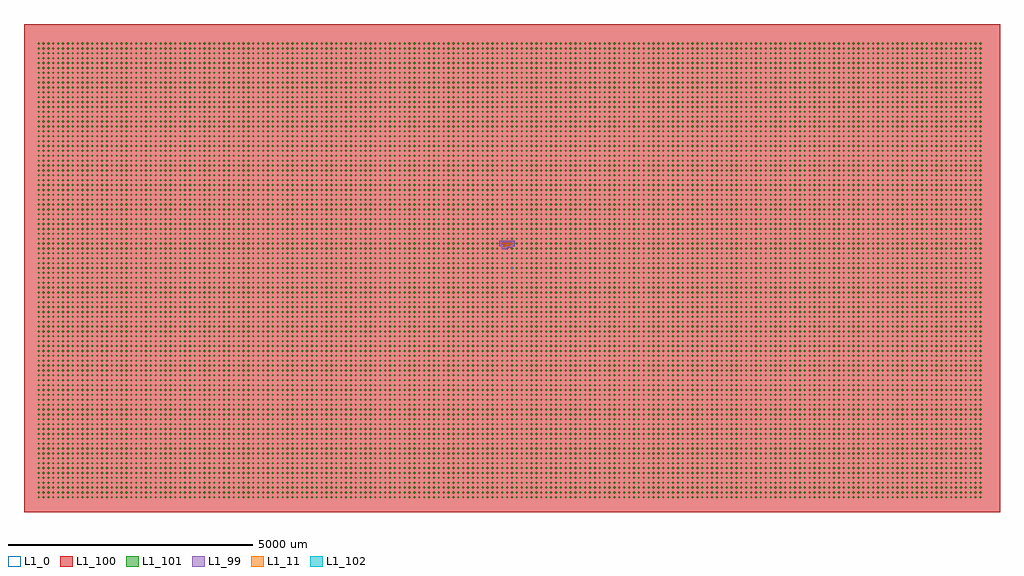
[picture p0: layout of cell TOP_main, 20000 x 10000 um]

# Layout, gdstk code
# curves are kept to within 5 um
import gdstk
lib = gdstk.Library(unit=1e-6, precision=1e-09)
def R(c, l, rs):  # rectangles x0, y0, x1, y1
    for r in rs: c.add(gdstk.rectangle(r[:2], r[2:], *l))
def A(c, l, x, y, w, h, nx, ny, dx, dy):  # array of equal rectangles
    R(c, l, [(x+i*dx, y+j*dy, x+i*dx+w, y+j*dy+h) for i in range(nx) for j in range(ny)])
def P(c, l, *ps):  # polygons
    for p in ps: c.add(gdstk.Polygon(p, *l))
L1_0 = (1, 0)
L1_11 = (1, 11)
L1_99 = (1, 99)
L1_100 = (1, 100)
L1_101 = (1, 101)
L1_102 = (1, 102)

ground_main_1 = lib.new_cell('ground_main_1')
P(ground_main_1, L1_0, [(10000,5000),(-10000,5000),(-10000,483.5),(-220,483.5),(-220,516.5),(20,516.5),(20,483.5),(-10000,483.5),(-10000,425.3),(-173.2,425.3),(-167.714,456.368),(-146.107,475.385),(-40,478.5),(-40,452.1),(-134.533,451.477),(-145.409,441.993),(-146.8,425.3),(-10000,425.3),(-10000,-5000),(10000,-5000)])

top_main_1_one_hole = lib.new_cell('TOP_main_1_one_hole')
P(top_main_1_one_hole, L1_102, [(12.5,-12.5),(12.5,12.5),(-12.5,12.5),(-12.5,-12.5),(12.5,-12.5)])

top_main_1_cheese_diff = lib.new_cell('TOP_main_1_Cheese_diff')
A(top_main_1_cheese_diff, L1_101, -9712.5, -4712.5, 25, 25, 194, 51, 100, 100)
A(top_main_1_cheese_diff, L1_101, -9712.5, 387.5, 25, 25, 95, 2, 100, 100)
A(top_main_1_cheese_diff, L1_101, 87.5, 387.5, 25, 25, 96, 2, 100, 100)
A(top_main_1_cheese_diff, L1_101, -9712.5, 587.5, 25, 25, 194, 41, 100, 100)
R(top_main_1_cheese_diff, L1_101, [(-106.8,387.5,-87.5,412.1)])
P(top_main_1_cheese_diff, L1_101, [(12.5,412.5),(0,412.5),(0,412.1),(-12.5,412.1),(-12.5,387.5),(12.5,387.5)])

top_main_1_cheese_100 = lib.new_cell('TOP_main_1_Cheese_100')
A(top_main_1_cheese_100, L1_100, -9712.5, -5000, 25, 287.5, 193, 1, 100, 0)
A(top_main_1_cheese_100, L1_100, -9687.5, -5000, 75, 10000, 94, 1, 100, 0)
A(top_main_1_cheese_100, L1_100, 112.5, -5000, 75, 10000, 95, 1, 100, 0)
A(top_main_1_cheese_100, L1_100, -9712.5, -4687.5, 25, 75, 193, 50, 100, 100)
A(top_main_1_cheese_100, L1_100, -9712.5, 312.5, 25, 75, 95, 3, 100, 100)
A(top_main_1_cheese_100, L1_100, -12.5, 312.5, 25, 75, 96, 1, 100, 0)
A(top_main_1_cheese_100, L1_100, 87.5, 412.5, 25, 75, 95, 2, 100, 100)
A(top_main_1_cheese_100, L1_100, -212.5, 516.5, 25, 71, 3, 1, 100, 0)
A(top_main_1_cheese_100, L1_100, -9712.5, 612.5, 25, 75, 193, 40, 100, 100)
A(top_main_1_cheese_100, L1_100, -9712.5, 4612.5, 25, 387.5, 193, 1, 100, 0)
R(top_main_1_cheese_100, L1_100, [(-10000,-5000,-9712.5,5000), (-212.5,312.5,-187.5,483.5), (-112.5,478.5,-87.5,483.5), (-187.5,516.5,-112.5,5000), (-87.5,516.5,-12.5,5000)])
P(top_main_1_cheese_100, L1_100, [(-212.5,516.5),(-212.5,5000),(-287.5,5000),(-287.5,-5000),(-212.5,-5000),(-212.5,483.5),(-220,483.5),(-220,516.5)],
  [(-173.161,437.133),(-154.191,471.092),(-112.5,478.5),(-187.5,483.5),(-187.5,-5000),(-112.5,-5000),(-112.5,452.1),(-140.602,448.332),(-146.8,425.3),(-173.2,425.3)],
  [(-87.5,412.1),(-87.5,452.1),(-112.5,452.1),(-112.5,312.5),(-87.5,312.5),(-87.5,387.5),(-106.8,387.5),(-106.8,412.1)],
  [(-12.5,-5000),(-12.5,483.5),(-87.5,483.5),(-87.5,478.5),(-40,478.5),(-40,452.1),(-87.5,452.1),(-87.5,-5000)],
  [(0,412.5),(12.5,412.5),(12.5,483.5),(-12.5,483.5),(-12.5,412.1),(0,412.1)],
  [(20,516.5),(20,483.5),(12.5,483.5),(12.5,-5000),(87.5,-5000),(87.5,5000),(12.5,5000),(12.5,516.5)],
  [(10000,-12.5),(9587.5,-12.5),(9587.5,-87.5),(9612.5,-87.5),(9612.5,-112.5),(9587.5,-112.5),(9587.5,-187.5),(9612.5,-187.5),(9612.5,-212.5),(9587.5,-212.5),(9587.5,-287.5),(9612.5,-287.5),(9612.5,-312.5),(9587.5,-312.5),(9587.5,-387.5),(9612.5,-387.5),(9612.5,-412.5),(9587.5,-412.5),(9587.5,-487.5),(9612.5,-487.5),(9612.5,-512.5),(9587.5,-512.5),(9587.5,-587.5),(9612.5,-587.5),(9612.5,-612.5),(9587.5,-612.5),(9587.5,-687.5),(9612.5,-687.5),(9612.5,-712.5),(9587.5,-712.5),(9587.5,-787.5),(9612.5,-787.5),(9612.5,-812.5),(9587.5,-812.5),(9587.5,-887.5),(9612.5,-887.5),(9612.5,-912.5),(9587.5,-912.5),(9587.5,-987.5),(9612.5,-987.5),(9612.5,-1012.5),(9587.5,-1012.5),(9587.5,-1087.5),(9612.5,-1087.5),(9612.5,-1112.5),(9587.5,-1112.5),(9587.5,-1187.5),(9612.5,-1187.5),(9612.5,-1212.5),(9587.5,-1212.5),(9587.5,-1287.5),(9612.5,-1287.5),(9612.5,-1312.5),(9587.5,-1312.5),(9587.5,-1387.5),(9612.5,-1387.5),(9612.5,-1412.5),(9587.5,-1412.5),(9587.5,-1487.5),(9612.5,-1487.5),(9612.5,-1512.5),(9587.5,-1512.5),(9587.5,-1587.5),(9612.5,-1587.5),(9612.5,-1612.5),(9587.5,-1612.5),(9587.5,-1687.5),(9612.5,-1687.5),(9612.5,-1712.5),(9587.5,-1712.5),(9587.5,-1787.5),(9612.5,-1787.5),(9612.5,-1812.5),(9587.5,-1812.5),(9587.5,-1887.5),(9612.5,-1887.5),(9612.5,-1912.5),(9587.5,-1912.5),(9587.5,-1987.5),(9612.5,-1987.5),(9612.5,-2012.5),(9587.5,-2012.5),(9587.5,-2087.5),(9612.5,-2087.5),(9612.5,-2112.5),(9587.5,-2112.5),(9587.5,-2187.5),(9612.5,-2187.5),(9612.5,-2212.5),(9587.5,-2212.5),(9587.5,-2287.5),(9612.5,-2287.5),(9612.5,-2312.5),(9587.5,-2312.5),(9587.5,-2387.5),(9612.5,-2387.5),(9612.5,-2412.5),(9587.5,-2412.5),(9587.5,-2487.5),(9612.5,-2487.5),(9612.5,-2512.5),(9587.5,-2512.5),(9587.5,-2587.5),(9612.5,-2587.5),(9612.5,-2612.5),(9587.5,-2612.5),(9587.5,-2687.5),(9612.5,-2687.5),(9612.5,-2712.5),(9587.5,-2712.5),(9587.5,-2787.5),(9612.5,-2787.5),(9612.5,-2812.5),(9587.5,-2812.5),(9587.5,-2887.5),(9612.5,-2887.5),(9612.5,-2912.5),(9587.5,-2912.5),(9587.5,-2987.5),(9612.5,-2987.5),(9612.5,-3012.5),(9587.5,-3012.5),(9587.5,-3087.5),(9612.5,-3087.5),(9612.5,-3112.5),(9587.5,-3112.5),(9587.5,-3187.5),(9612.5,-3187.5),(9612.5,-3212.5),(9587.5,-3212.5),(9587.5,-3287.5),(9612.5,-3287.5),(9612.5,-3312.5),(9587.5,-3312.5),(9587.5,-3387.5),(9612.5,-3387.5),(9612.5,-3412.5),(9587.5,-3412.5),(9587.5,-3487.5),(9612.5,-3487.5),(9612.5,-3512.5),(9587.5,-3512.5),(9587.5,-3587.5),(9612.5,-3587.5),(9612.5,-3612.5),(9587.5,-3612.5),(9587.5,-3687.5),(9612.5,-3687.5),(9612.5,-3712.5),(9587.5,-3712.5),(9587.5,-3787.5),(9612.5,-3787.5),(9612.5,-3812.5),(9587.5,-3812.5),(9587.5,-3887.5),(9612.5,-3887.5),(9612.5,-3912.5),(9587.5,-3912.5),(9587.5,-3987.5),(9612.5,-3987.5),(9612.5,-4012.5),(9587.5,-4012.5),(9587.5,-4087.5),(9612.5,-4087.5),(9612.5,-4112.5),(9587.5,-4112.5),(9587.5,-4187.5),(9612.5,-4187.5),(9612.5,-4212.5),(9587.5,-4212.5),(9587.5,-4287.5),(9612.5,-4287.5),(9612.5,-4312.5),(9587.5,-4312.5),(9587.5,-4387.5),(9612.5,-4387.5),(9612.5,-4412.5),(9587.5,-4412.5),(9587.5,-4487.5),(9612.5,-4487.5),(9612.5,-4512.5),(9587.5,-4512.5),(9587.5,-4587.5),(9612.5,-4587.5),(9612.5,-4612.5),(9587.5,-4612.5),(9587.5,-4687.5),(9612.5,-4687.5),(9612.5,-4712.5),(9587.5,-4712.5),(9587.5,-5000),(10000,-5000)],
  [(10000,5000),(9587.5,5000),(9587.5,4612.5),(9612.5,4612.5),(9612.5,4587.5),(9587.5,4587.5),(9587.5,4512.5),(9612.5,4512.5),(9612.5,4487.5),(9587.5,4487.5),(9587.5,4412.5),(9612.5,4412.5),(9612.5,4387.5),(9587.5,4387.5),(9587.5,4312.5),(9612.5,4312.5),(9612.5,4287.5),(9587.5,4287.5),(9587.5,4212.5),(9612.5,4212.5),(9612.5,4187.5),(9587.5,4187.5),(9587.5,4112.5),(9612.5,4112.5),(9612.5,4087.5),(9587.5,4087.5),(9587.5,4012.5),(9612.5,4012.5),(9612.5,3987.5),(9587.5,3987.5),(9587.5,3912.5),(9612.5,3912.5),(9612.5,3887.5),(9587.5,3887.5),(9587.5,3812.5),(9612.5,3812.5),(9612.5,3787.5),(9587.5,3787.5),(9587.5,3712.5),(9612.5,3712.5),(9612.5,3687.5),(9587.5,3687.5),(9587.5,3612.5),(9612.5,3612.5),(9612.5,3587.5),(9587.5,3587.5),(9587.5,3512.5),(9612.5,3512.5),(9612.5,3487.5),(9587.5,3487.5),(9587.5,3412.5),(9612.5,3412.5),(9612.5,3387.5),(9587.5,3387.5),(9587.5,3312.5),(9612.5,3312.5),(9612.5,3287.5),(9587.5,3287.5),(9587.5,3212.5),(9612.5,3212.5),(9612.5,3187.5),(9587.5,3187.5),(9587.5,3112.5),(9612.5,3112.5),(9612.5,3087.5),(9587.5,3087.5),(9587.5,3012.5),(9612.5,3012.5),(9612.5,2987.5),(9587.5,2987.5),(9587.5,2912.5),(9612.5,2912.5),(9612.5,2887.5),(9587.5,2887.5),(9587.5,2812.5),(9612.5,2812.5),(9612.5,2787.5),(9587.5,2787.5),(9587.5,2712.5),(9612.5,2712.5),(9612.5,2687.5),(9587.5,2687.5),(9587.5,2612.5),(9612.5,2612.5),(9612.5,2587.5),(9587.5,2587.5),(9587.5,2512.5),(9612.5,2512.5),(9612.5,2487.5),(9587.5,2487.5),(9587.5,2412.5),(9612.5,2412.5),(9612.5,2387.5),(9587.5,2387.5),(9587.5,2312.5),(9612.5,2312.5),(9612.5,2287.5),(9587.5,2287.5),(9587.5,2212.5),(9612.5,2212.5),(9612.5,2187.5),(9587.5,2187.5),(9587.5,2112.5),(9612.5,2112.5),(9612.5,2087.5),(9587.5,2087.5),(9587.5,2012.5),(9612.5,2012.5),(9612.5,1987.5),(9587.5,1987.5),(9587.5,1912.5),(9612.5,1912.5),(9612.5,1887.5),(9587.5,1887.5),(9587.5,1812.5),(9612.5,1812.5),(9612.5,1787.5),(9587.5,1787.5),(9587.5,1712.5),(9612.5,1712.5),(9612.5,1687.5),(9587.5,1687.5),(9587.5,1612.5),(9612.5,1612.5),(9612.5,1587.5),(9587.5,1587.5),(9587.5,1512.5),(9612.5,1512.5),(9612.5,1487.5),(9587.5,1487.5),(9587.5,1412.5),(9612.5,1412.5),(9612.5,1387.5),(9587.5,1387.5),(9587.5,1312.5),(9612.5,1312.5),(9612.5,1287.5),(9587.5,1287.5),(9587.5,1212.5),(9612.5,1212.5),(9612.5,1187.5),(9587.5,1187.5),(9587.5,1112.5),(9612.5,1112.5),(9612.5,1087.5),(9587.5,1087.5),(9587.5,1012.5),(9612.5,1012.5),(9612.5,987.5),(9587.5,987.5),(9587.5,912.5),(9612.5,912.5),(9612.5,887.5),(9587.5,887.5),(9587.5,812.5),(9612.5,812.5),(9612.5,787.5),(9587.5,787.5),(9587.5,712.5),(9612.5,712.5),(9612.5,687.5),(9587.5,687.5),(9587.5,612.5),(9612.5,612.5),(9612.5,587.5),(9587.5,587.5),(9587.5,512.5),(9612.5,512.5),(9612.5,487.5),(9587.5,487.5),(9587.5,412.5),(9612.5,412.5),(9612.5,387.5),(9587.5,387.5),(9587.5,312.5),(9612.5,312.5),(9612.5,287.5),(9587.5,287.5),(9587.5,212.5),(9612.5,212.5),(9612.5,187.5),(9587.5,187.5),(9587.5,112.5),(9612.5,112.5),(9612.5,87.5),(9587.5,87.5),(9587.5,12.5),(9612.5,12.5),(9612.5,-12.5),(10000,-12.5)])

top_main_1 = lib.new_cell('TOP_main_1')
R(top_main_1, L1_11, [(-220,492.5,20,507.5)])
P(top_main_1, L1_11, [(-40,459.1),(-40,471.5),(-138.534,470.48),(-150.998,464.788),(-160.453,454.871),(-165.546,442.151),(-166.2,425.3),(-153.8,425.3),(-153.639,438.063),(-151.268,445.981),(-145.298,453.532),(-136.826,458.1)])
top_main_1.add(gdstk.Reference(ground_main_1, (0,0)))
top_main_1.add(gdstk.Reference(top_main_1_one_hole, (0,0)))
top_main_1.add(gdstk.Reference(top_main_1_cheese_diff, (0,0)))
top_main_1.add(gdstk.Reference(top_main_1_cheese_100, (0,0)))

top_main_1_nocheese_99 = lib.new_cell('TOP_main_1_NoCheese_99')
P(top_main_1_nocheese_99, L1_99, [(-213.2,443.5),(-260,443.5),(-260,556.5),(60,556.5),(60,443.5),(0,443.5),(0,412.1),(-106.8,412.1),(-106.8,385.3),(-213.2,385.3),(-213.2,443.5)])

top_main = lib.new_cell('TOP_main')
top_main.add(gdstk.Reference(top_main_1, (0,0)))
top_main.add(gdstk.Reference(top_main_1_nocheese_99, (0,0)))

lib.write_gds('TOP_main.gds')
